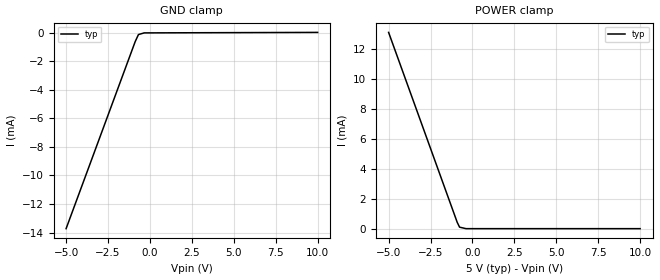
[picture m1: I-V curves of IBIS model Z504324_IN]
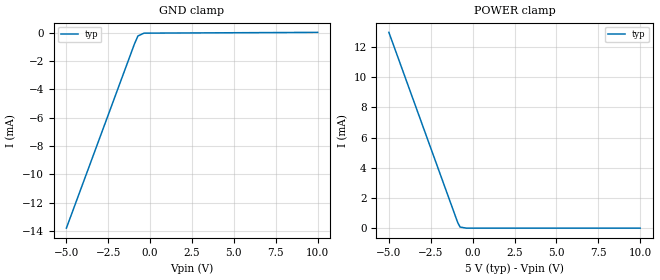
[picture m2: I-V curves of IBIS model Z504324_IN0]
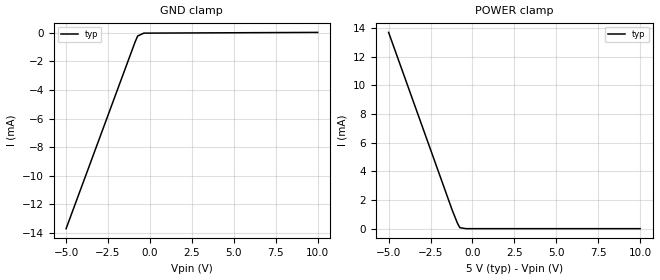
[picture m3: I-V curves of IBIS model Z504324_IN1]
| YOU ARE ONLY AUTHORIZED TO USE THIS SOFTWARE
| ACCORDING TO LICENSOR'S LICENSE RESTRICTIONS.
[IBIS Ver] 3.1
[File Name] mc74hct74ad.ibs
[File Rev] 2.0
[Source] Measured and created by ICX Technology
[Date] Friday 7/14/00 9:08:12 AM
[Copyright]
| (C) COPYRIGHT 1993-2000
| MENTOR GRAPHICS CORPORATION
| ICX STANDARD LIBRARY, ICX PROJECT MODELING,
| ICX CUSTOM MODELING, ICX VENDOR MODEL
| ALL RIGHTS RESERVED.
| THE FOLLOWING ARE TRADEMARKS OR SERVICE MARKS OF
| MENTOR GRAPHICS CORPORATION:ICX (R), ICX STANDARD
| LIBRARY(R), ICX PROJECT MODELING(R), ICX CUSTOM
| MODELING(R), qualityIBIS(TM), MODELVIEWER(TM),
| AND MODELEDITOR(TM)
| ALL COPIES OF SOFTWARE, INCLUDING BUT NOT LIMITED TO
| ANY MODIFICATIONS, ENHANCEMENTS OR DERIVATIVE WORKS,
| MUST CONTAIN ALL MENTOR GRAPHICS CORPORATION'S
| NOTICES AND LEGENDS, INCLUDING THOSE EMBEDDED IN
| SOFTWARE AND THOSE AFFIXED TO SOFTWARE MEDIUM
| AND CONTAINER, AS RECEIVED FROM MENTOR GRAPHICS
| CORPORATION.
|  ZAP Model Builder 2.7
[Component] MC74HCT74AD
[Manufacturer] OnSemiconductor
[Package]
| variable   typ   min   max
R_pkg  .155ohms NA NA
L_pkg  3.028nH NA NA
C_pkg  .381pF NA NA
[Pin] signal_name  model_name  R_pin  L_pin C_pin
1 _CLR Z504324_IN0 .16 3.587n .407p
2 D Z504324_IN .156 3.147n .387p
3 CLK Z504324_IN1 .152 2.717n .367p
4 _PRE Z504324_IN2 .148 2.297n .347p
5 Q Z504324_OUT .152 2.717n .367p
6 _Q Z504324_OUT0 .156 3.147n .387p
7 GROUND GND .16 3.587n .407p
8 _Q Z504324_OUT0 .16 3.587n .407p
9 Q Z504324_OUT .156 3.147n .387p
10 _PRE Z504324_IN2 .152 2.717n .367p
11 CLK Z504324_IN1 .148 2.297n .347p
12 D Z504324_IN .152 2.717n .367p
13 _CLR Z504324_IN0 .156 3.147n .387p
14 VCC POWER .16 3.587n .407p
| Models and submodels in the file (6): Z504324_IN (Input), Z504324_IN0 (Input), Z504324_IN1 (Input), Z504324_IN2 (Input), Z504324_OUT (Output), Z504324_OUT0 (Output)
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| (C) COPYRIGHT 1993-2000
| MENTOR GRAPHICS CORPORATION
| ICX STANDARD LIBRARY, ICX PROJECT MODELING,
| ICX CUSTOM MODELING, ICX VENDOR MODEL
| ALL RIGHTS RESERVED.
| THE FOLLOWING ARE TRADEMARKS OR SERVICE MARKS OF
| MENTOR GRAPHICS CORPORATION:ICX (R), ICX STANDARD
| LIBRARY(R), ICX PROJECT MODELING(R), ICX CUSTOM
| MODELING(R), qualityIBIS(TM), MODELVIEWER(TM),
| AND MODELEDITOR(TM)
| ALL COPIES OF SOFTWARE, INCLUDING BUT NOT LIMITED TO
| ANY MODIFICATIONS, ENHANCEMENTS OR DERIVATIVE WORKS,
| MUST CONTAIN ALL MENTOR GRAPHICS CORPORATION'S
| NOTICES AND LEGENDS, INCLUDING THOSE EMBEDDED IN
| SOFTWARE AND THOSE AFFIXED TO SOFTWARE MEDIUM
| AND CONTAINER, AS RECEIVED FROM MENTOR GRAPHICS
| CORPORATION.
| Model Application Version 1.89 2/18/99.
[Model] Z504324_IN
Model_type Input
Vinl = 800.0mV
Vinh = 2.000V
C_comp 4.000pF NA NA
| variable typ   min   max
[Voltage Range] 5.000V NA NA
[GND Clamp Reference] 0.000V NA NA
[POWER Clamp Reference] 5.000V NA NA
[GND Clamp]
-5V       -13.73mA   NA         NA
-880.4mV  -626uA     NA         NA
-685.8mV  -130.2uA   NA         NA
-342.9mV  -11.7uA    NA         NA
10V       22.77uA    NA         NA
[POWER Clamp]
-5V       13.1mA     NA         NA
-907mV    419.1uA    NA         NA
-768mV    100.1uA    NA         NA
-384mV    0A         NA         NA
10V       0A         NA         NA
| (C) COPYRIGHT 1993-2000
| MENTOR GRAPHICS CORPORATION
| ICX STANDARD LIBRARY, ICX PROJECT MODELING,
| ICX CUSTOM MODELING, ICX VENDOR MODEL
| ALL RIGHTS RESERVED.
| THE FOLLOWING ARE TRADEMARKS OR SERVICE MARKS OF
| MENTOR GRAPHICS CORPORATION:ICX (R), ICX STANDARD
| LIBRARY(R), ICX PROJECT MODELING(R), ICX CUSTOM
| MODELING(R), qualityIBIS(TM), MODELVIEWER(TM),
| AND MODELEDITOR(TM)
| ALL COPIES OF SOFTWARE, INCLUDING BUT NOT LIMITED TO
| ANY MODIFICATIONS, ENHANCEMENTS OR DERIVATIVE WORKS,
| MUST CONTAIN ALL MENTOR GRAPHICS CORPORATION'S
| NOTICES AND LEGENDS, INCLUDING THOSE EMBEDDED IN
| SOFTWARE AND THOSE AFFIXED TO SOFTWARE MEDIUM
| AND CONTAINER, AS RECEIVED FROM MENTOR GRAPHICS
| CORPORATION.
| Model Application Version 1.89 2/18/99.
[Model] Z504324_IN0
Model_type Input
Vinl = 800.0mV
Vinh = 2.000V
C_comp 4.000pF NA NA
| variable typ   min   max
[Voltage Range] 5.000V NA NA
[GND Clamp Reference] 0.000V NA NA
[POWER Clamp Reference] 5.000V NA NA
[GND Clamp]
-5V       -13.79mA   NA         NA
-941.7mV  -804uA     NA         NA
-729.2mV  -224.4uA   NA         NA
-364.6mV  -24.75uA   NA         NA
10V       29.16uA    NA         NA
[POWER Clamp]
-5V       12.96mA    NA         NA
-888mV    360.4uA    NA         NA
-749mV    72.2uA     NA         NA
-374.5mV  0A         NA         NA
10V       0A         NA         NA
| (C) COPYRIGHT 1993-2000
| MENTOR GRAPHICS CORPORATION
| ICX STANDARD LIBRARY, ICX PROJECT MODELING,
| ICX CUSTOM MODELING, ICX VENDOR MODEL
| ALL RIGHTS RESERVED.
| THE FOLLOWING ARE TRADEMARKS OR SERVICE MARKS OF
| MENTOR GRAPHICS CORPORATION:ICX (R), ICX STANDARD
| LIBRARY(R), ICX PROJECT MODELING(R), ICX CUSTOM
| MODELING(R), qualityIBIS(TM), MODELVIEWER(TM),
| AND MODELEDITOR(TM)
| ALL COPIES OF SOFTWARE, INCLUDING BUT NOT LIMITED TO
| ANY MODIFICATIONS, ENHANCEMENTS OR DERIVATIVE WORKS,
| MUST CONTAIN ALL MENTOR GRAPHICS CORPORATION'S
| NOTICES AND LEGENDS, INCLUDING THOSE EMBEDDED IN
| SOFTWARE AND THOSE AFFIXED TO SOFTWARE MEDIUM
| AND CONTAINER, AS RECEIVED FROM MENTOR GRAPHICS
| CORPORATION.
| Model Application Version 1.89 2/18/99.
[Model] Z504324_IN1
Model_type Input
Vinl = 800.0mV
Vinh = 2.000V
C_comp 4.000pF NA NA
| variable typ   min   max
[Voltage Range] 5.000V NA NA
[GND Clamp Reference] 0.000V NA NA
[POWER Clamp Reference] 5.000V NA NA
[GND Clamp]
-5V       -13.71mA   NA         NA
-880.1mV  -623.6uA   NA         NA
-729mV    -218uA     NA         NA
-364.5mV  -22.23uA   NA         NA
10V       29.66uA    NA         NA
[POWER Clamp]
-5V       13.7mA     NA         NA
-1.201V   1.276mA    NA         NA
-888mV    363.5uA    NA         NA
-750mV    68.6uA     NA         NA
-375mV    0A         NA         NA
10V       0A         NA         NA
